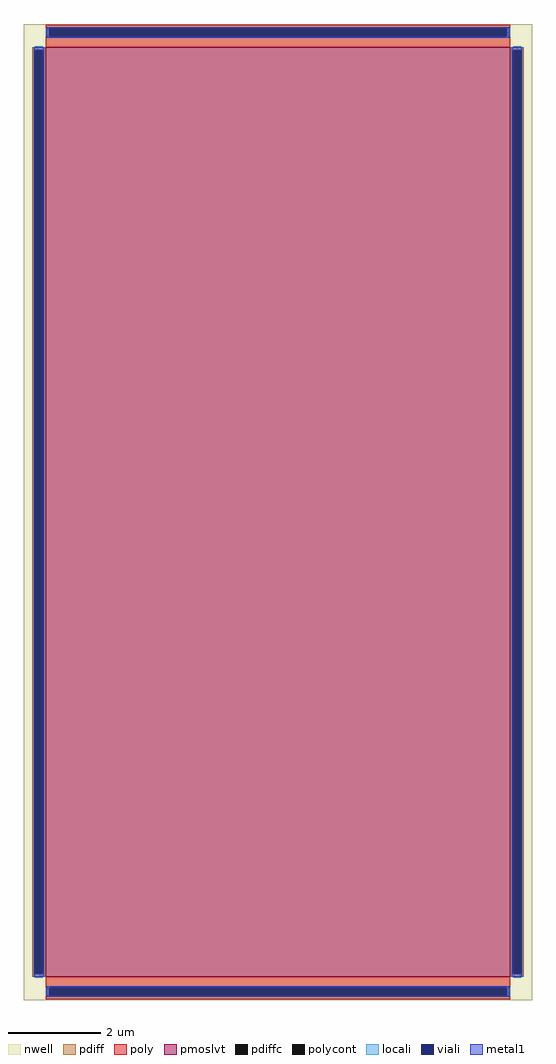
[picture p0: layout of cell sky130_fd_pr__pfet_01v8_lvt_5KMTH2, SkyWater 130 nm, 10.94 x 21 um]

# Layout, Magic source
magic
tech sky130A
magscale 1 2
<< nwell >>
rect -1094 -2100 1094 2100
<< pmoslvt >>
rect -1000 -2000 1000 2000
<< pdiff >>
rect -1058 1988 -1000 2000
rect -1058 -1988 -1046 1988
rect -1012 -1988 -1000 1988
rect -1058 -2000 -1000 -1988
rect 1000 1988 1058 2000
rect 1000 -1988 1012 1988
rect 1046 -1988 1058 1988
rect 1000 -2000 1058 -1988
<< pdiffc >>
rect -1046 -1988 -1012 1988
rect 1012 -1988 1046 1988
<< poly >>
rect -1000 2081 1000 2097
rect -1000 2047 -984 2081
rect 984 2047 1000 2081
rect -1000 2000 1000 2047
rect -1000 -2047 1000 -2000
rect -1000 -2081 -984 -2047
rect 984 -2081 1000 -2047
rect -1000 -2097 1000 -2081
<< polycont >>
rect -984 2047 984 2081
rect -984 -2081 984 -2047
<< locali >>
rect -1000 2047 -984 2081
rect 984 2047 1000 2081
rect -1046 1988 -1012 2004
rect -1046 -2004 -1012 -1988
rect 1012 1988 1046 2004
rect 1012 -2004 1046 -1988
rect -1000 -2081 -984 -2047
rect 984 -2081 1000 -2047
<< viali >>
rect -984 2047 984 2081
rect -1046 -1988 -1012 1988
rect 1012 -1988 1046 1988
rect -984 -2081 984 -2047
<< metal1 >>
rect -996 2081 996 2087
rect -996 2047 -984 2081
rect 984 2047 996 2081
rect -996 2041 996 2047
rect -1052 1988 -1006 2000
rect -1052 -1988 -1046 1988
rect -1012 -1988 -1006 1988
rect -1052 -2000 -1006 -1988
rect 1006 1988 1052 2000
rect 1006 -1988 1012 1988
rect 1046 -1988 1052 1988
rect 1006 -2000 1052 -1988
rect -996 -2047 996 -2041
rect -996 -2081 -984 -2047
rect 984 -2081 996 -2047
rect -996 -2087 996 -2081
<< properties >>
string gencell sky130_fd_pr__pfet_01v8_lvt
string library sky130
string parameters w 20.0 l 10.0 m 1 nf 1 diffcov 100 polycov 100 guard 0 glc 1 grc 1 gtc 1 gbc 1 tbcov 100 rlcov 100 topc 1 botc 1 poverlap 1 doverlap 1 lmin 0.35 wmin 0.42 class mosfet compatible {sky130_fd_pr__pfet_01v8  sky130_fd_pr__pfet_01v8_lvt sky130_fd_pr__pfet_01v8_hvt  sky130_fd_pr__pfet_g5v0d10v5} full_metal 1 viasrc 100 viadrn 100 viagate 100 viagb 0 viagr 0 viagl 0 viagt 0
<< end >>
